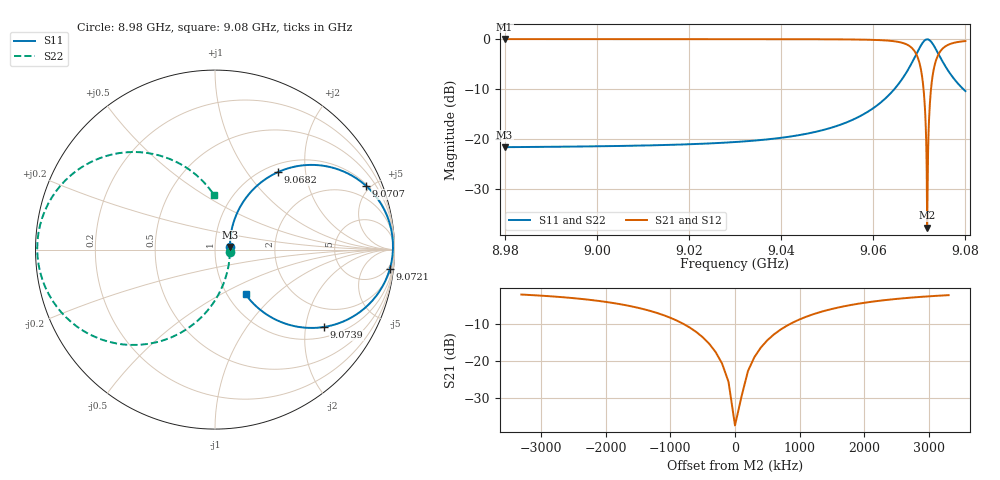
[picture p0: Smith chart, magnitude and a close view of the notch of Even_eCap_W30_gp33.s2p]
! Sonnet Data File
! From: emgraph Version : 16.52
! From Project: Resonator2_extremeCap
! Data is De-embedded
! Data File Written: 10/10/2017 20:29:21
!< HDATE 10/09/2017 23:04:37
!< MDATE 10/09/2017 23:04:37
!< PARAMS
!< Pwid1 = 2000.0
!< Pwid2 = 2000.0
!< Air_gap = 18.0
!< Width = 30.0
!< Gap = 33.0
!< END PARAMS
# GHZ S MA R 51.80000
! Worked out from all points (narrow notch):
!   1001 points, 8.98 GHz to 9.08 GHz, reference 51.8 ohm
!   highest |S21| = -0.03 dB at 8.98 GHz (marker M1); lowest = -37.6 dB at 9.0717 GHz (marker M2)
!   notch at M2: 37.6 dB deep, 561 kHz wide at half that depth
!   lowest |S11| = -21.6 dB at 8.98 GHz (marker M3), VSWR 1.18, Z = 61 + j1.83 ohm
!   |S11| at or under -10 dB: start of sweep to 9.0646 GHz; 9.079537 GHz to end of sweep
!   |S22| runs from -21.6 to -0.1 dB; largest |S21 - S12| = 0
!   S11 on the Smith chart (normalised r, x): 8.98 GHz: 1.18, +0.04; 9.0682 GHz: 1.14, +1.42; 9.0707 GHz: 1.10, +4.69; 9.0721 GHz: 3, -18; 9.0739 GHz: 1.31, -2.53; 9.08 GHz: 1.21, -0.66
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8.98  0.08328 10.3  0.9965 -89.2  0.9965 -89.2  0.08326 -8.6
!< P1 F=8.98 Eeff=(6.44501582 -2.9712e-5) Z0=(50.6182877 1.16785e-4) R=0.0 C=0.0
!< P2 F=8.98 Eeff=(6.44501582 -2.9712e-5) Z0=(50.6182877 1.16785e-4) R=0.0 C=0.0
8.9967  0.08458 13.6  0.9964 -89.7  0.9964 -89.7  0.08456 -12.9
9.0134  0.0872 18.7  0.9962 -90.3  0.9962 -90.3  0.08717 -19.4
9.03  0.09369 27.1  0.9956 -91.5  0.9956 -91.5  0.09363 -30.0
9.0467  0.1162 41.6  0.9931 -93.8  0.9931 -93.8  0.1161 -49.3
9.0564  0.1631 53.3  0.9864 -97.3  0.9864 -97.3  0.1629 -68.1
9.0634  0.2757 59.5  0.9606 -104.6  0.9606 -104.6  0.2752 -89.0
9.0663  0.3999 57.5  0.9151 -112.5  0.9151 -112.5  0.3993 -102.9
9.0682  0.557 50.9  0.8274 -122.9  0.8274 -122.9  0.5562 -117.4
9.0697  0.7585 38.1  0.6445 -138.5  0.6445 -138.5  0.7573 -136.3
9.0707  0.9131 22.9  0.3909 -155.1  0.3909 -155.1  0.9117 -155.6
9.071  0.9502 17.2  0.2873 -161.0  0.2873 -161.0  0.9488 -162.5
9.0714  0.9833 8.9  0.1329 -168.1  0.1329 -168.1  0.9818 -172.5
9.0717  0.992 2.4  0.01312 -137.7  0.01312 -137.7  0.9906 179.9
9.0721  0.9804 -6.2  0.1531 -11.4  0.1531 -11.4  0.979 169.7
9.0724  0.956 -12.3  0.2676 -16.8  0.2676 -16.8  0.9546 162.3
9.0727  0.9212 -18.0  0.3714 -22.5  0.3714 -22.5  0.9199 155.4
9.0732  0.8499 -26.4  0.5161 -31.4  0.5161 -31.4  0.8487 145.1
9.0739  0.7437 -35.5  0.662 -41.6  0.662 -41.6  0.7427 133.3
9.075  0.6003 -44.8  0.7963 -52.9  0.7963 -52.9  0.5995 119.7
9.0762  0.4868 -50.4  0.8715 -60.7  0.8715 -60.7  0.4862 109.5
9.08  0.302 -55.7  0.9527 -72.6  0.9527 -72.6  0.3016 90.7
